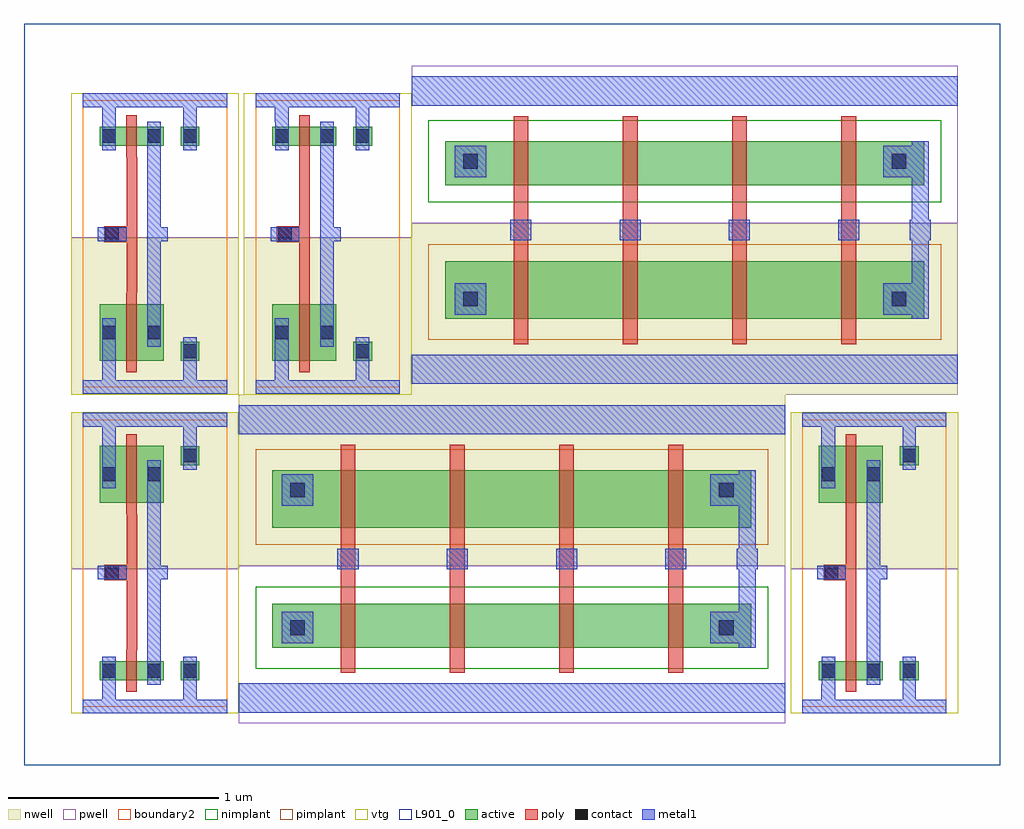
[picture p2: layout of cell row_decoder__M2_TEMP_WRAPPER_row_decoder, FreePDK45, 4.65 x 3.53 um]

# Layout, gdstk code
import gdstk
lib = gdstk.Library(unit=1e-6, precision=1e-09)
def R(c, l, rs):  # rectangles x0, y0, x1, y1
    for r in rs: c.add(gdstk.rectangle(r[:2], r[2:], *l))
def A(c, l, x, y, w, h, nx, ny, dx, dy):  # array of equal rectangles
    R(c, l, [(x+i*dx, y+j*dy, x+i*dx+w, y+j*dy+h) for i in range(nx) for j in range(ny)])
active = (1, 0)
pwell = (2, 0)
nwell = (3, 0)
nimplant = (4, 0)
pimplant = (5, 0)
vtg = (6, 0)
poly = (9, 0)
contact = (10, 0)
metal1 = (11, 0)
boundary2 = (239, 0)
L901_0 = (901, 0)

row_decoder__row_decoder = lib.new_cell('row_decoder__row_decoder__sram_1rw_32x16_freepdk45_contact_11')
R(row_decoder__row_decoder, active, [(0,0.022,0.09,0.112)])
R(row_decoder__row_decoder, nwell, [(-0.055,-0.033,0.145,0.168)])
R(row_decoder__row_decoder, pimplant, [(0,0.022,0.09,0.112)])
R(row_decoder__row_decoder, contact, [(0.013,0.035,0.077,0.1)])
R(row_decoder__row_decoder, metal1, [(0.013,0,0.077,0.135)])
R(row_decoder__row_decoder, boundary2, [(-0.055,-0.033,0.145,0.168)])

c_row_decoder__row_decoder = lib.new_cell('row_decoder__row_decoder__sram_1rw_32x16_freepdk45_pmos_m1_w0_270_sm1_dm1_da_p')
R(c_row_decoder__row_decoder, active, [(0,0,0.305,0.27)])
R(c_row_decoder__row_decoder, nwell, [(-0.08,-0.08,0.385,0.35)])
R(c_row_decoder__row_decoder, pimplant, [(0,0,0.305,0.27)])
R(c_row_decoder__row_decoder, vtg, [(-0.08,-0.08,0.385,0.35)])
R(c_row_decoder__row_decoder, poly, [(0.127,-0.055,0.177,0.325), (0.127,-0.055,0.177,0.325)])
R(c_row_decoder__row_decoder, metal1, [(0.013,0.068,0.077,0.203), (0.227,0.068,0.292,0.203)])
R(c_row_decoder__row_decoder, boundary2, [(-0.08,-0.08,0.385,0.35)])
c_row_decoder__row_decoder.add(gdstk.Reference(row_decoder__row_decoder, (0,0.068)))
c_row_decoder__row_decoder.add(gdstk.Reference(row_decoder__row_decoder, (0.215,0.068)))
c_row_decoder__row_decoder.add(gdstk.Label('G', (0.152,0.135), layer=9, texttype=0))
c_row_decoder__row_decoder.add(gdstk.Label('S', (0.045,0.135), layer=11, texttype=0))
c_row_decoder__row_decoder.add(gdstk.Label('D', (0.26,0.135), layer=11, texttype=0))

c_row_decoder__row_decoder_ = lib.new_cell('row_decoder__row_decoder__sram_1rw_32x16_freepdk45_contact_10')
R(c_row_decoder__row_decoder_, active, [(0,0.022,0.09,0.112)])
R(c_row_decoder__row_decoder_, pwell, [(-0.055,-0.033,0.145,0.168)])
R(c_row_decoder__row_decoder_, nimplant, [(0,0.022,0.09,0.112)])
R(c_row_decoder__row_decoder_, contact, [(0.013,0.035,0.077,0.1)])
R(c_row_decoder__row_decoder_, metal1, [(0.013,0,0.077,0.135)])
R(c_row_decoder__row_decoder_, boundary2, [(-0.055,-0.033,0.145,0.168)])

c_row_decoder__row_decoder__ = lib.new_cell('row_decoder__row_decoder__sram_1rw_32x16_freepdk45_nmos_m1_w0_090_sm1_dm1_da_p')
R(c_row_decoder__row_decoder__, active, [(0,0,0.305,0.09)])
R(c_row_decoder__row_decoder__, pwell, [(-0.08,-0.08,0.385,0.17)])
R(c_row_decoder__row_decoder__, nimplant, [(0,0,0.305,0.09)])
R(c_row_decoder__row_decoder__, vtg, [(-0.08,-0.08,0.385,0.17)])
R(c_row_decoder__row_decoder__, poly, [(0.127,-0.055,0.177,0.145), (0.127,-0.055,0.177,0.145)])
R(c_row_decoder__row_decoder__, metal1, [(0.013,-0.022,0.077,0.112), (0.227,-0.022,0.292,0.112)])
R(c_row_decoder__row_decoder__, boundary2, [(-0.08,-0.08,0.385,0.17)])
c_row_decoder__row_decoder__.add(gdstk.Reference(c_row_decoder__row_decoder_, (0,-0.022)))
c_row_decoder__row_decoder__.add(gdstk.Reference(c_row_decoder__row_decoder_, (0.215,-0.022)))
c_row_decoder__row_decoder__.add(gdstk.Label('G', (0.152,0.045), layer=9, texttype=0))
c_row_decoder__row_decoder__.add(gdstk.Label('S', (0.045,0.045), layer=11, texttype=0))
c_row_decoder__row_decoder__.add(gdstk.Label('D', (0.26,0.045), layer=11, texttype=0))

c_row_decoder__row_decoder___ = lib.new_cell('row_decoder__row_decoder__sram_1rw_32x16_freepdk45_contact_12')
R(c_row_decoder__row_decoder___, active, [(0,0.022,0.09,0.112)])
R(c_row_decoder__row_decoder___, nwell, [(-0.055,-0.033,0.145,0.168)])
R(c_row_decoder__row_decoder___, nimplant, [(0,0.022,0.09,0.112)])
R(c_row_decoder__row_decoder___, contact, [(0.013,0.035,0.077,0.1)])
R(c_row_decoder__row_decoder___, metal1, [(0.013,0,0.077,0.135)])
R(c_row_decoder__row_decoder___, boundary2, [(-0.055,-0.033,0.145,0.168)])

c_row_decoder__row_decoder____ = lib.new_cell('row_decoder__row_decoder__sram_1rw_32x16_freepdk45_contact_13')
R(c_row_decoder__row_decoder____, active, [(0,0.022,0.09,0.112)])
R(c_row_decoder__row_decoder____, pwell, [(-0.055,-0.033,0.145,0.168)])
R(c_row_decoder__row_decoder____, pimplant, [(0,0.022,0.09,0.112)])
R(c_row_decoder__row_decoder____, contact, [(0.013,0.035,0.077,0.1)])
R(c_row_decoder__row_decoder____, metal1, [(0.013,0,0.077,0.135)])
R(c_row_decoder__row_decoder____, boundary2, [(-0.055,-0.033,0.145,0.168)])

c_row_decoder__row_decoder_____ = lib.new_cell('row_decoder__row_decoder__sram_1rw_32x16_freepdk45_contact_14')
R(c_row_decoder__row_decoder_____, poly, [(0.03,0,0.105,0.075)])
R(c_row_decoder__row_decoder_____, contact, [(0.035,0.005,0.1,0.07)])
R(c_row_decoder__row_decoder_____, metal1, [(0,0.005,0.135,0.07)])
R(c_row_decoder__row_decoder_____, boundary2, [(0,0,0.135,0.075)])

c_row_decoder__row_decoder______ = lib.new_cell('row_decoder__row_decoder__gen_inv')
R(c_row_decoder__row_decoder______, pwell, [(-0.055,-0.033,0.743,0.655)])
R(c_row_decoder__row_decoder______, nwell, [(-0.055,0.655,0.743,1.4)])
R(c_row_decoder__row_decoder______, vtg, [(-0.055,-0.033,0.743,0.655), (-0.055,0.655,0.743,1.4)])
R(c_row_decoder__row_decoder______, poly, [(0.208,0.27,0.258,0.915), (0.14,0.6,0.208,0.675)])
R(c_row_decoder__row_decoder______, metal1, [(0,-0.033,0.687,0.033), (0.092,-0.033,0.157,0.103), (0.478,0,0.542,0.17), (0.307,0.103,0.372,1.173), (0.072,0.605,0.208,0.67), (0.34,0.605,0.405,0.67), (0.092,1.038,0.157,1.397), (0.478,1.195,0.542,1.365), (0,1.332,0.687,1.397)])
R(c_row_decoder__row_decoder______, boundary2, [(0,0,0.687,1.365), (0,0,0.687,1.365)])
c_row_decoder__row_decoder______.add(gdstk.Reference(c_row_decoder__row_decoder, (0.08,0.97)))
c_row_decoder__row_decoder______.add(gdstk.Reference(c_row_decoder__row_decoder__, (0.08,0.125)))
c_row_decoder__row_decoder______.add(gdstk.Reference(c_row_decoder__row_decoder___, (0.465,1.127)))
c_row_decoder__row_decoder______.add(gdstk.Reference(c_row_decoder__row_decoder____, (0.465,0.103)))
c_row_decoder__row_decoder______.add(gdstk.Reference(c_row_decoder__row_decoder_____, (0.072,0.6)))
c_row_decoder__row_decoder______.add(gdstk.Label('A', (0.14,0.638), layer=11, texttype=0))
c_row_decoder__row_decoder______.add(gdstk.Label('Z', (0.372,0.638), layer=11, texttype=0))
c_row_decoder__row_decoder______.add(gdstk.Label('gnd', (0.345,0), layer=11, texttype=0))
c_row_decoder__row_decoder______.add(gdstk.Label('vdd', (0.345,1.365), layer=11, texttype=0))

c_row_decoder__row_decoder_______ = lib.new_cell('row_decoder__row_decoder__gen_nand4')
R(c_row_decoder__row_decoder_______, active, [(0.16,0.36,2.44,0.57), (0.16,0.93,2.44,1.205)])
R(c_row_decoder__row_decoder_______, pwell, [(0,0,2.6,0.75)])
R(c_row_decoder__row_decoder_______, nwell, [(0,0.75,2.6,1.565)])
R(c_row_decoder__row_decoder_______, nimplant, [(0.08,0.26,2.52,0.65)])
R(c_row_decoder__row_decoder_______, pimplant, [(0.08,0.85,2.52,1.305)])
A(c_row_decoder__row_decoder_______, poly, 0.485, 0.24, 0.07, 1.085, 4, 1, 0.52, 0)
R(c_row_decoder__row_decoder_______, contact, [(0.245,0.42,0.315,0.49), (2.285,0.42,2.355,0.49), (0.245,1.075,0.315,1.145), (2.285,1.075,2.355,1.145)])
A(c_row_decoder__row_decoder_______, metal1, 0.47, 0.733, 0.1, 0.099, 4, 1, 0.52, 0)
R(c_row_decoder__row_decoder_______, metal1, [(0,0.05,2.6,0.19), (1.25,0.07,1.35,0.17), (2.38,0.36,2.46,1.205), (0.205,0.38,0.355,0.53), (2.245,0.38,2.395,0.53), (2.37,0.733,2.47,0.832), (0.205,1.035,0.355,1.185), (2.245,1.035,2.395,1.185), (0,1.375,2.6,1.515), (1.25,1.395,1.35,1.495)])

c_row_decoder__row_decoder________ = lib.new_cell('row_decoder__row_decoder__row_decoder')
c_row_decoder__row_decoder________.add(gdstk.Reference(c_row_decoder__row_decoder______, (0.08,0.08)))
c_row_decoder__row_decoder________.add(gdstk.Reference(c_row_decoder__row_decoder_______, (0.822,0)))
c_row_decoder__row_decoder________.add(gdstk.Reference(c_row_decoder__row_decoder______, (3.503,0.08)))
c_row_decoder__row_decoder________.add(gdstk.Reference(c_row_decoder__row_decoder______, (0.08,2.965), x_reflection=True))
c_row_decoder__row_decoder________.add(gdstk.Reference(c_row_decoder__row_decoder______, (0.902,2.965), x_reflection=True))
c_row_decoder__row_decoder________.add(gdstk.Reference(c_row_decoder__row_decoder_______, (1.645,3.13), x_reflection=True))

row_decoder__m2_temp_wra = lib.new_cell('row_decoder__M2_TEMP_WRAPPER_row_decoder')
R(row_decoder__m2_temp_wra, L901_0, [(-0.2,-0.2,4.445,3.33)])
row_decoder__m2_temp_wra.add(gdstk.Reference(c_row_decoder__row_decoder________, (0,0)))
row_decoder__m2_temp_wra.add(gdstk.Label('TEMP_WRAPPER_FOR_M2_REVIEW', (0,3.63), layer=900, texttype=0))
row_decoder__m2_temp_wra.add(gdstk.Label('row_decoder candidate composite', (0,4.23), layer=900, texttype=0))

lib.write_gds('row_decoder__M2_TEMP_WRAPPER_row_decoder.gds')
